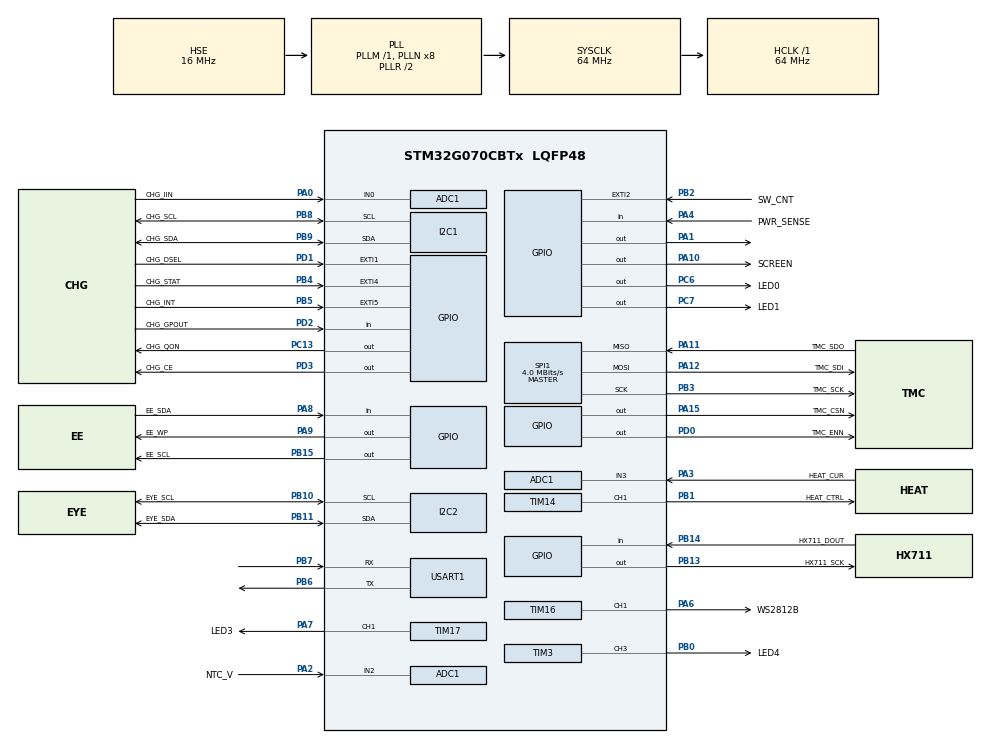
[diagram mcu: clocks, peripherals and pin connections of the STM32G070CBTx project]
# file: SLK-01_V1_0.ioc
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ADC1.Channel-0\#ChannelRegularConversion=ADC_CHANNEL_0
ADC1.Channel-1\#ChannelRegularConversion=ADC_CHANNEL_2
ADC1.Channel-2\#ChannelRegularConversion=ADC_CHANNEL_3
ADC1.ClockPrescaler=ADC_CLOCK_ASYNC_DIV32
ADC1.ContinuousConvMode=ENABLE
ADC1.DMAContinuousRequests=ENABLE
ADC1.EOCSelection=ADC_EOC_SEQ_CONV
ADC1.NbrOfConversion=3
ADC1.NbrOfConversionFlag=1
ADC1.Overrun=ADC_OVR_DATA_OVERWRITTEN
ADC1.OversamplingMode=ENABLE
ADC1.Rank-0\#ChannelRegularConversion=1
ADC1.Rank-1\#ChannelRegularConversion=2
ADC1.Rank-2\#ChannelRegularConversion=3
ADC1.Ratio=ADC_OVERSAMPLING_RATIO_256
ADC1.Resolution=ADC_RESOLUTION_12B
ADC1.RightBitShift=ADC_RIGHTBITSHIFT_4
ADC1.SamplingTime-0\#ChannelRegularConversion=ADC_SAMPLINGTIME_COMMON_1
ADC1.SamplingTime-1\#ChannelRegularConversion=ADC_SAMPLINGTIME_COMMON_1
ADC1.SamplingTime-2\#ChannelRegularConversion=ADC_SAMPLINGTIME_COMMON_1
ADC1.SelectedChannel=ADC_CHANNEL_0|ADC_CHANNEL_2|ADC_CHANNEL_3
ADC1.master=1
Dma.ADC1.4.Direction=DMA_PERIPH_TO_MEMORY
Dma.ADC1.4.EventEnable=DISABLE
Dma.ADC1.4.Instance=DMA1_Channel5
Dma.ADC1.4.MemDataAlignment=DMA_MDATAALIGN_HALFWORD
Dma.ADC1.4.MemInc=DMA_MINC_ENABLE
Dma.ADC1.4.Mode=DMA_CIRCULAR
Dma.ADC1.4.PeriphDataAlignment=DMA_PDATAALIGN_HALFWORD
Dma.ADC1.4.PeriphInc=DMA_PINC_DISABLE
Dma.ADC1.4.Polarity=HAL_DMAMUX_REQ_GEN_RISING
Dma.ADC1.4.Priority=DMA_PRIORITY_LOW
Dma.ADC1.4.RequestNumber=1
Dma.ADC1.4.SignalID=NONE
Dma.ADC1.4.SyncEnable=DISABLE
Dma.ADC1.4.SyncPolarity=HAL_DMAMUX_SYNC_NO_EVENT
Dma.ADC1.4.SyncRequestNumber=1
Dma.ADC1.4.SyncSignalID=NONE
Dma.I2C1_RX.0.Direction=DMA_PERIPH_TO_MEMORY
Dma.I2C1_RX.0.EventEnable=DISABLE
Dma.I2C1_RX.0.Instance=DMA1_Channel1
Dma.I2C1_RX.0.MemDataAlignment=DMA_MDATAALIGN_BYTE
Dma.I2C1_RX.0.MemInc=DMA_MINC_ENABLE
Dma.I2C1_RX.0.Mode=DMA_NORMAL
Dma.I2C1_RX.0.PeriphDataAlignment=DMA_PDATAALIGN_BYTE
Dma.I2C1_RX.0.PeriphInc=DMA_PINC_DISABLE
Dma.I2C1_RX.0.Polarity=HAL_DMAMUX_REQ_GEN_RISING
Dma.I2C1_RX.0.Priority=DMA_PRIORITY_LOW
Dma.I2C1_RX.0.RequestNumber=1
Dma.I2C1_RX.0.SignalID=NONE
Dma.I2C1_RX.0.SyncEnable=DISABLE
Dma.I2C1_RX.0.SyncPolarity=HAL_DMAMUX_SYNC_NO_EVENT
Dma.I2C1_RX.0.SyncRequestNumber=1
Dma.I2C1_RX.0.SyncSignalID=NONE
Dma.I2C1_TX.1.Direction=DMA_MEMORY_TO_PERIPH
Dma.I2C1_TX.1.EventEnable=DISABLE
Dma.I2C1_TX.1.Instance=DMA1_Channel2
Dma.I2C1_TX.1.MemDataAlignment=DMA_MDATAALIGN_BYTE
Dma.I2C1_TX.1.MemInc=DMA_MINC_ENABLE
Dma.I2C1_TX.1.Mode=DMA_NORMAL
Dma.I2C1_TX.1.PeriphDataAlignment=DMA_PDATAALIGN_BYTE
Dma.I2C1_TX.1.PeriphInc=DMA_PINC_DISABLE
Dma.I2C1_TX.1.Polarity=HAL_DMAMUX_REQ_GEN_RISING
Dma.I2C1_TX.1.Priority=DMA_PRIORITY_LOW
Dma.I2C1_TX.1.RequestNumber=1
Dma.I2C1_TX.1.SignalID=NONE
Dma.I2C1_TX.1.SyncEnable=DISABLE
Dma.I2C1_TX.1.SyncPolarity=HAL_DMAMUX_SYNC_NO_EVENT
Dma.I2C1_TX.1.SyncRequestNumber=1
Dma.I2C1_TX.1.SyncSignalID=NONE
Dma.I2C2_RX.2.Direction=DMA_PERIPH_TO_MEMORY
Dma.I2C2_RX.2.EventEnable=DISABLE
Dma.I2C2_RX.2.Instance=DMA1_Channel3
Dma.I2C2_RX.2.MemDataAlignment=DMA_MDATAALIGN_BYTE
Dma.I2C2_RX.2.MemInc=DMA_MINC_ENABLE
Dma.I2C2_RX.2.Mode=DMA_NORMAL
Dma.I2C2_RX.2.PeriphDataAlignment=DMA_PDATAALIGN_BYTE
Dma.I2C2_RX.2.PeriphInc=DMA_PINC_DISABLE
Dma.I2C2_RX.2.Polarity=HAL_DMAMUX_REQ_GEN_RISING
Dma.I2C2_RX.2.Priority=DMA_PRIORITY_LOW
Dma.I2C2_RX.2.RequestNumber=1
Dma.I2C2_RX.2.SignalID=NONE
Dma.I2C2_RX.2.SyncEnable=DISABLE
Dma.I2C2_RX.2.SyncPolarity=HAL_DMAMUX_SYNC_NO_EVENT
Dma.I2C2_RX.2.SyncRequestNumber=1
Dma.I2C2_RX.2.SyncSignalID=NONE
Dma.I2C2_TX.3.Direction=DMA_MEMORY_TO_PERIPH
Dma.I2C2_TX.3.EventEnable=DISABLE
Dma.I2C2_TX.3.Instance=DMA1_Channel4
Dma.I2C2_TX.3.MemDataAlignment=DMA_MDATAALIGN_BYTE
Dma.I2C2_TX.3.MemInc=DMA_MINC_ENABLE
Dma.I2C2_TX.3.Mode=DMA_NORMAL
Dma.I2C2_TX.3.PeriphDataAlignment=DMA_PDATAALIGN_BYTE
Dma.I2C2_TX.3.PeriphInc=DMA_PINC_DISABLE
Dma.I2C2_TX.3.Polarity=HAL_DMAMUX_REQ_GEN_RISING
Dma.I2C2_TX.3.Priority=DMA_PRIORITY_LOW
Dma.I2C2_TX.3.RequestNumber=1
Dma.I2C2_TX.3.SignalID=NONE
Dma.I2C2_TX.3.SyncEnable=DISABLE
Dma.I2C2_TX.3.SyncPolarity=HAL_DMAMUX_SYNC_NO_EVENT
Dma.I2C2_TX.3.SyncRequestNumber=1
Dma.I2C2_TX.3.SyncSignalID=NONE
Dma.Request0=I2C1_RX
Dma.Request1=I2C1_TX
Dma.Request2=I2C2_RX
Dma.Request3=I2C2_TX
Dma.Request4=ADC1
Dma.Request5=USART1_TX
Dma.Request6=TIM16_CH1
Dma.TIM16_CH1.6.Direction=DMA_MEMORY_TO_PERIPH
Dma.TIM16_CH1.6.EventEnable=DISABLE
Dma.TIM16_CH1.6.Instance=DMA1_Channel7
Dma.TIM16_CH1.6.MemDataAlignment=DMA_MDATAALIGN_HALFWORD
Dma.TIM16_CH1.6.MemInc=DMA_MINC_ENABLE
Dma.TIM16_CH1.6.Mode=DMA_CIRCULAR
Dma.TIM16_CH1.6.PeriphDataAlignment=DMA_PDATAALIGN_HALFWORD
Dma.TIM16_CH1.6.PeriphInc=DMA_PINC_DISABLE
Dma.TIM16_CH1.6.Polarity=HAL_DMAMUX_REQ_GEN_RISING
Dma.TIM16_CH1.6.Priority=DMA_PRIORITY_MEDIUM
Dma.TIM16_CH1.6.RequestNumber=1
Dma.TIM16_CH1.6.SignalID=NONE
Dma.TIM16_CH1.6.SyncEnable=DISABLE
Dma.TIM16_CH1.6.SyncPolarity=HAL_DMAMUX_SYNC_NO_EVENT
Dma.TIM16_CH1.6.SyncRequestNumber=1
Dma.TIM16_CH1.6.SyncSignalID=NONE
Dma.USART1_TX.5.Direction=DMA_MEMORY_TO_PERIPH
Dma.USART1_TX.5.EventEnable=DISABLE
Dma.USART1_TX.5.Instance=DMA1_Channel6
Dma.USART1_TX.5.MemDataAlignment=DMA_MDATAALIGN_BYTE
Dma.USART1_TX.5.MemInc=DMA_MINC_ENABLE
Dma.USART1_TX.5.Mode=DMA_NORMAL
Dma.USART1_TX.5.PeriphDataAlignment=DMA_PDATAALIGN_BYTE
Dma.USART1_TX.5.PeriphInc=DMA_PINC_DISABLE
Dma.USART1_TX.5.Polarity=HAL_DMAMUX_REQ_GEN_RISING
Dma.USART1_TX.5.Priority=DMA_PRIORITY_LOW
Dma.USART1_TX.5.RequestNumber=1
Dma.USART1_TX.5.SignalID=NONE
Dma.USART1_TX.5.SyncEnable=DISABLE
Dma.USART1_TX.5.SyncPolarity=HAL_DMAMUX_SYNC_NO_EVENT
Dma.USART1_TX.5.SyncRequestNumber=1
Dma.USART1_TX.5.SyncSignalID=NONE
I2C1.CustomTiming=Disabled
I2C1.Timing=0x10707DBC
I2C2.Timing=0x10707DBC
Mcu.Family=STM32G0
Mcu.Name=STM32G070CBTx
Mcu.Package=LQFP48
NVIC.ADC1_IRQn=true\:0\:0\:false\:false\:true\:true\:true\:true
NVIC.DMA1_Ch4_7_DMAMUX1_OVR_IRQn=true\:0\:0\:false\:false\:true\:false\:true\:true
NVIC.DMA1_Channel1_IRQn=true\:0\:0\:false\:false\:true\:false\:true\:true
NVIC.DMA1_Channel2_3_IRQn=true\:0\:0\:false\:false\:true\:false\:true\:true
NVIC.EXTI2_3_IRQn=true\:0\:0\:false\:false\:true\:true\:true\:true
NVIC.I2C1_IRQn=true\:0\:0\:false\:false\:true\:true\:true\:true
NVIC.I2C2_IRQn=true\:0\:0\:false\:false\:true\:true\:true\:true
NVIC.TIM6_IRQn=true\:0\:0\:false\:false\:true\:true\:true\:true
NVIC.TIM7_IRQn=true\:0\:0\:false\:false\:true\:true\:true\:true
NVIC.USART1_IRQn=true\:0\:0\:false\:false\:true\:true\:true\:true
PA0.GPIO_Label=CHG_IIN
PA0.Mode=IN0
PA0.Signal=ADC1_IN0
PA1.Signal=GPIO_Output
PA10.GPIO_FMPA10=__NULL
PA10.GPIO_Label=SCREEN
PA10.GPIO_Speed=GPIO_SPEED_FREQ_LOW
PA10.PinState=GPIO_PIN_SET
PA10.Signal=GPIO_Output
PA11\ [PA9].GPIO_Label=TMC_SDO
PA11\ [PA9].Mode=Full_Duplex_Master
PA11\ [PA9].Signal=SPI1_MISO
PA12\ [PA10].GPIO_Label=TMC_SDI
PA12\ [PA10].Mode=Full_Duplex_Master
PA12\ [PA10].Signal=SPI1_MOSI
PA13.Mode=Serial_Wire
PA13.Signal=SYS_SWDIO
PA14-BOOT0.Mode=Serial_Wire
PA14-BOOT0.Signal=SYS_SWCLK
PA15.GPIO_Label=TMC_CSN
PA15.PinState=GPIO_PIN_SET
PA15.Signal=GPIO_Output
PA2.GPIO_Label=NTC_V
PA2.Mode=IN2
PA2.Signal=ADC1_IN2
PA3.GPIO_Label=HEAT_CUR
PA3.Mode=IN3
PA3.Signal=ADC1_IN3
PA4.GPIO_Label=PWR_SENSE
PA4.GPIO_PuPd=GPIO_PULLDOWN
PA4.Signal=GPIO_Input
PA6.GPIO_Label=WS2812B
PA6.GPIO_Speed=GPIO_SPEED_FREQ_VERY_HIGH
PA6.Signal=S_TIM16_CH1
PA7.GPIO_Label=LED3
PA7.Signal=S_TIM17_CH1
PA8.GPIO_Label=EE_SDA
PA8.Signal=GPIO_Input
PA9.GPIO_Label=EE_WP
PA9.Signal=GPIO_Output
PB0.GPIO_Label=LED4
PB0.Signal=S_TIM3_CH3
PB1.GPIO_Label=HEAT_CTRL
PB1.Signal=S_TIM14_CH1
PB10.GPIO_Label=EYE_SCL
PB10.Mode=I2C
PB10.Signal=I2C2_SCL
PB11.GPIO_Label=EYE_SDA
PB11.Mode=I2C
PB11.Signal=I2C2_SDA
PB13.GPIO_Label=HX711_SCK
PB13.Signal=GPIO_Output
PB14.GPIO_Label=HX711_DOUT
PB14.Signal=GPIO_Input
PB15.GPIO_Label=EE_SCL
PB15.Signal=GPIO_Output
PB2.GPIO_Label=SW_CNT
PB2.GPIO_ModeDefaultEXTI=GPIO_MODE_IT_FALLING
PB2.Signal=GPXTI2
PB3.GPIO_Label=TMC_SCK
PB3.Mode=Full_Duplex_Master
PB3.Signal=SPI1_SCK
PB4.GPIO_Label=CHG_STAT
PB4.Signal=GPXTI4
PB5.GPIO_Label=CHG_INT
PB5.Signal=GPXTI5
PB6.Mode=Asynchronous
PB6.Signal=USART1_TX
PB7.Mode=Asynchronous
PB7.Signal=USART1_RX
PB8.GPIO_Label=CHG_SCL
PB8.Mode=I2C
PB8.Signal=I2C1_SCL
PB9.GPIO_Label=CHG_SDA
PB9.Mode=I2C
PB9.Signal=I2C1_SDA
PC13.GPIO_Label=CHG_QON
PC13.Signal=GPIO_Output
PC14-OSC32_IN\ (PC14).Mode=LSE-External-Oscillator
PC14-OSC32_IN\ (PC14).Signal=RCC_OSC32_IN
PC15-OSC32_OUT\ (PC15).Mode=LSE-External-Oscillator
PC15-OSC32_OUT\ (PC15).Signal=RCC_OSC32_OUT
PC6.GPIO_Label=LED0
PC6.PinState=GPIO_PIN_SET
PC6.Signal=GPIO_Output
PC7.GPIO_Label=LED1
PC7.PinState=GPIO_PIN_SET
PC7.Signal=GPIO_Output
PD0.GPIO_Label=TMC_ENN
PD0.PinState=GPIO_PIN_SET
PD0.Signal=GPIO_Output
PD1.GPIO_Label=CHG_DSEL
PD1.Signal=GPXTI1
PD2.GPIO_Label=CHG_GPOUT
PD2.Signal=GPIO_Input
PD3.GPIO_Label=CHG_CE
PD3.PinState=GPIO_PIN_SET
PD3.Signal=GPIO_Output
PF0-OSC_IN\ (PF0).Mode=HSE-External-Oscillator
PF0-OSC_IN\ (PF0).Signal=RCC_OSC_IN
PF1-OSC_OUT\ (PF1).Mode=HSE-External-Oscillator
PF1-OSC_OUT\ (PF1).Signal=RCC_OSC_OUT
ProjectManager.HeapSize=0x200
ProjectManager.StackSize=0x400
ProjectManager.TargetToolchain=MDK-ARM V5
RCC.ADCFreq_Value=64000000
RCC.AHBFreq_Value=64000000
RCC.CortexFreq_Value=64000000
RCC.EXTERNAL_CLOCK_VALUE=48000
RCC.HCLKFreq_Value=64000000
RCC.HSE_VALUE=16000000
RCC.HSI_VALUE=16000000
RCC.PLLSourceVirtual=RCC_PLLSOURCE_HSE
RCC.SYSCLKFreq_VALUE=64000000
RCC.SYSCLKSource=RCC_SYSCLKSOURCE_PLLCLK
RCC.VCOOutputFreq_Value=128000000
SH.S_TIM14_CH1.0=TIM14_CH1,PWM Generation1 CH1
SH.S_TIM16_CH1.0=TIM16_CH1,PWM Generation1 CH1
SH.S_TIM17_CH1.0=TIM17_CH1,PWM Generation1 CH1
SH.S_TIM3_CH3.0=TIM3_CH3,PWM Generation3 CH3
SPI1.BaudRatePrescaler=SPI_BAUDRATEPRESCALER_16
SPI1.CLKPhase=SPI_PHASE_2EDGE
SPI1.CLKPolarity=SPI_POLARITY_HIGH
SPI1.CalculateBaudRate=4.0 MBits/s
SPI1.DataSize=SPI_DATASIZE_8BIT
SPI1.Direction=SPI_DIRECTION_2LINES
SPI1.Mode=SPI_MODE_MASTER
SPI1.VirtualType=VM_MASTER
TIM14.Channel=TIM_CHANNEL_1
TIM14.Period=255
TIM14.Prescaler=63
TIM16.AutoReloadPreload=TIM_AUTORELOAD_PRELOAD_DISABLE
TIM16.Channel=TIM_CHANNEL_1
TIM16.Period=160
TIM16.Prescaler=0
TIM17.Channel=TIM_CHANNEL_1
TIM17.Period=499
TIM17.Prescaler=63
TIM3.Channel-PWM\ Generation3\ CH3=TIM_CHANNEL_3
TIM3.Period=499
TIM3.Prescaler=63
TIM6.AutoReloadPreload=TIM_AUTORELOAD_PRELOAD_ENABLE
TIM6.Period=4999
TIM6.Prescaler=639
TIM7.AutoReloadPreload=TIM_AUTORELOAD_PRELOAD_ENABLE
TIM7.Period=4999
TIM7.Prescaler=639
USART1.VirtualMode-Asynchronous=VM_ASYNC
VP_SYS_VS_DBSignals.Mode=DisableDeadBatterySignals
VP_TIM14_VS_ClockSourceINT.Mode=Enable_Timer
VP_TIM16_VS_ClockSourceINT.Mode=Enable_Timer
VP_TIM17_VS_ClockSourceINT.Mode=Enable_Timer
VP_TIM6_VS_ClockSourceINT.Mode=Enable_Timer
VP_TIM7_VS_ClockSourceINT.Mode=Enable_Timer
board=custom

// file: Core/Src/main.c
/* USER CODE BEGIN Header */
/**
ddsa
  */
/* USER CODE END Header */
#include "main.h"
#include "adc.h"
#include "dma.h"
#include "i2c.h"
#include "spi.h"
#include "tim.h"
#include "usart.h"
#include "gpio.h"

/* USER CODE BEGIN Includes */
#include "delay.h"
#include "tmc5130.h"
#include "hx711.h"
#include "bq25895.h"
#include "apply.h"
#include "led.h"
#include "bq27441.h"
#include "screen.h"
#include "tmp114.h"
#include "heat.h"
#include "pid.h"
#include "24cxx.h"
#include "ws2812b.h"
//#include <stdio.h>
//#include <stdlib.h>
//#include <time.h>
/* USER CODE END Includes */

/* USER CODE BEGIN PV */
u8 PWM_SCALE[4],GCONF[4],XACTUAL[4];
u16 ADC_VALUE[3];
u8 tempbq[21];
u8 tempbq1[1],tempbq2[1];
u8 temptmp[2];
u16 tempadc[9];
s32 tempdata,tempdata1,temp2;
s32 ForceRawSetAct_temp;
s32 ForceRawSetAct_temp2;
float Force;
u8 Flag_100ms_Toggle;

extern u32 RGB_DATA;

extern s32 ForceRawOffset;
extern s32 ForceRawActual;//应变片实际值
extern s32 ForceRawSetAct;
extern float EyeTmp;
extern u8 PWR_STATE;
extern u8 WorkMode;
extern u8 PowerState,LastPowerState;
/*

1:正在充电
2:充电已满
3:未充电。电量充足
3:未充电量充足
*/

extern u8 Flag_3200ms,Flag_800ms,Flag_400ms,Flag_200ms,Flag_100ms;

extern u8 BQ25895Reg[21];

extern BQ27441_typedef BQ27441;
/* USER CODE END PV */

void SystemClock_Config(void);

int main(void)
{

  /* MCU Configuration--------------------------------------------------------*/

  /* Reset of all peripherals, Initializes the Flash interface and the Systick. */
  HAL_Init();

  /* Configure the system clock */
  SystemClock_Config();

  /* Initialize all configured peripherals */
  MX_GPIO_Init();
  MX_DMA_Init();
  MX_ADC1_Init();
  MX_I2C1_Init();
  MX_I2C2_Init();
  MX_SPI1_Init();
  MX_USART1_UART_Init();
  MX_TIM3_Init();
  MX_TIM6_Init();
  MX_TIM14_Init();
  MX_TIM16_Init();
  MX_TIM17_Init();
  MX_TIM7_Init();
  /* USER CODE BEGIN 2 */
	delay_init(64);
//	LEDCtrl(LED3,LEDOn);
	AT24CXX_Init();
	BQ27441_Init();
	BQ25895_Init();
	HeatPIDInit();
	HeatPower(ON);
//	HeatPWMSet(50);
	PWM_WS2812B_Init();
	PWM_WS2812B_Show(5);
	ScreenUpdateSOC(BQ27441.SOC,PowerState);//电量上传
    PowerState=3;
   				PWM_WS2812B_Write_24Bits(5,0x0000ff);
				PWR_STATE=1;
				TMC5130_Init();//初始化tmc
				MotorChecking();//电机自检
				HX711_Init();
				HAL_ADC_Start_DMA(&hadc1,(uint32_t *)&ADC_VALUE,3);
                //srand(time(NULL));

  /* USER CODE END 2 */

  /* Infinite loop */
  /* USER CODE BEGIN WHILE */
  while (1)
  {

		if(PowerState==1)//iic confirms that type_c is charging
		{
			if(Flag_800ms)
			{
				BQ25895_MultiRead(BQ25895Reg);//获取充电芯片状态
				PowerStateUpdate();//电源状态更新
				LEDUpdate();//LED状态更新
				BQ27441_MultiRead(&BQ27441);//获取电量计数值
				BATCheckDIS();
				Flag_800ms=0;
			}
			LEDUpdate();
            				PWR_STATE=0;
				HAL_ADC_Stop_DMA(&hadc1);
				PWM_WS2812B_Write_24Bits(5,0x000000);
				SystemPowerDown();

		}
		else if(PowerState==3)//iic confirms that type_c is  not charging
		{
			LEDUpdate();
			SW_CMDHandler();
			TaskProcessing();
			if((USART1_RX_STA&0x8000)==0x8000)
			{
				UART1_CMDHandler(USART1_RX_BUF);
				USART1_RX_STA=0;
			}
			if(Flag_3200ms)
			{
				ScreenUpdateSOC(BQ27441.SOC,PowerState);//电量上传
				Flag_3200ms=0;
			}
			if(Flag_800ms)
			{
				BQ25895_MultiRead(BQ25895Reg);//获取充电芯片状态
				PowerStateUpdate();//电源状态更新
				LEDUpdate();//LED状态更新
				BQ27441_MultiRead(&BQ27441);//获取电量计数值
				BATCheckDIS();

				Flag_800ms=0;
			}
			if(Flag_100ms)
			{
				if((WorkMode&0x05)==0x05 && Flag_100ms_Toggle==0)
				{
					ScreenUpdateTemperature(EyeTmp);
				}
				if((WorkMode&0x06)==0x06 && Flag_100ms_Toggle==1)
				{
                    ForceRawSetAct_temp=(ForceRawActual - ForceRawOffset < 0) ? 0 : (ForceRawActual - ForceRawOffset);
                    ForceRawSetAct_temp2=(ForceRawSetAct-37572 < 0) ? 0 : (ForceRawSetAct-37572);
                    Limit(ForceRawSetAct_temp ,0,ForceRawSetAct_temp2) ;
                    ScreenUpdateForce(ForceRawSetAct_temp);
				}
				Flag_100ms_Toggle=!Flag_100ms_Toggle;
				Flag_100ms=0;
			}
			if(PWR_SW==0)
			{

			}
		}
//		PWM_WS2812B(5,RGB_DATA);
//		PWM_WS2812B_Show(5);
//		WS2812B_Reset();
//		WS2812B_Reset();
//		PWM_WS2812B_Red(2);		//???????
//		PWM_WS2812B_Green(3);
//		PWM_WS2812B_Blue(1);

//		Force=HX711_GetForce();
//		tempdata=HX711_Read();
//		tempdata1=tempdata-ForceRawOffset;
//		temp2=MotorCompare(ForceRawOffset+84534,tempdata);
//		TMC5130_Read(0x21,XACTUAL);

//		BQ25895_MultiRead(tempbq);
//		delay_ms(500);

//		delay_ms(500);
//		BQ27441_WriteWord(0x00,0x0008);
//		delay_ms(1);
//		BQ27441_Read(0x00,tempbq1);
//		delay_ms(1);
//		BQ27441_Read(0x01,tempbq2);

//		TMP114_Read(0x00,temptmp);
//		delay_ms(500);

//		HAL_ADC_Start_DMA(&hadc1,(uint32_t *)&tempadc,9);
//		delay_ms(5000);

//		MotorCtrl(200000);
//		for(u16 i=0;i<500;i++)
//		{
//			delay_ms(10);
//			TMC5130_Read(0x71,PWM_SCALE);
//			TMC5130_Read(0x00,GCONF);
//			Force=HX711_GetForce();
//		}
//		MotorCtrl(0);
//		for(u16 i=0;i<500;i++)
//		{
//			delay_ms(10);
//			TMC5130_Read(0x71,PWM_SCALE);
//			TMC5130_Read(0x00,GCONF);
//			Force=HX711_GetForce();
//		}

    /* USER CODE END WHILE */

  }
}

void SystemClock_Config(void)
{
  RCC_OscInitTypeDef RCC_OscInitStruct = {0};
  RCC_ClkInitTypeDef RCC_ClkInitStruct = {0};

  /** Configure the main internal regulator output voltage
  */
  HAL_PWREx_ControlVoltageScaling(PWR_REGULATOR_VOLTAGE_SCALE1);

  /** Initializes the RCC Oscillators according to the specified parameters
  * in the RCC_OscInitTypeDef structure.
  */
  RCC_OscInitStruct.OscillatorType = RCC_OSCILLATORTYPE_HSE;
  RCC_OscInitStruct.HSEState = RCC_HSE_ON;
  RCC_OscInitStruct.PLL.PLLState = RCC_PLL_ON;
  RCC_OscInitStruct.PLL.PLLSource = RCC_PLLSOURCE_HSE;
  RCC_OscInitStruct.PLL.PLLM = RCC_PLLM_DIV1;
  RCC_OscInitStruct.PLL.PLLN = 8;
  RCC_OscInitStruct.PLL.PLLP = RCC_PLLP_DIV2;
  RCC_OscInitStruct.PLL.PLLR = RCC_PLLR_DIV2;
  if (HAL_RCC_OscConfig(&RCC_OscInitStruct) != HAL_OK)
  {
    Error_Handler();
  }

  /** Initializes the CPU, AHB and APB buses clocks
  */
  RCC_ClkInitStruct.ClockType = RCC_CLOCKTYPE_HCLK|RCC_CLOCKTYPE_SYSCLK
                              |RCC_CLOCKTYPE_PCLK1;
  RCC_ClkInitStruct.SYSCLKSource = RCC_SYSCLKSOURCE_PLLCLK;
  RCC_ClkInitStruct.AHBCLKDivider = RCC_SYSCLK_DIV1;
  RCC_ClkInitStruct.APB1CLKDivider = RCC_HCLK_DIV1;

  if (HAL_RCC_ClockConfig(&RCC_ClkInitStruct, FLASH_LATENCY_2) != HAL_OK)
  {
    Error_Handler();
  }
}

void Error_Handler(void)
{
  __disable_irq();
  while (1)
  {
  }
}
